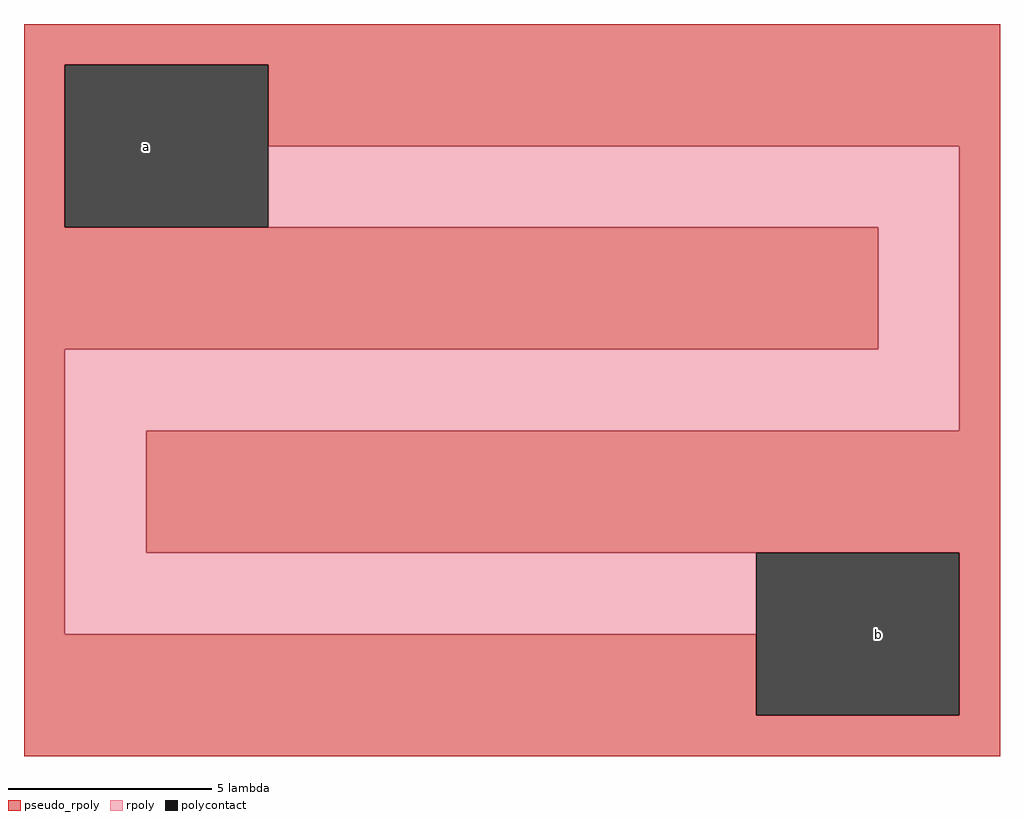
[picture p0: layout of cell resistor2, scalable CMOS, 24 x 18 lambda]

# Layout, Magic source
magic
tech scmos
<< polycontact >>
rect -8 6 -3 10
rect 9 -6 14 -2
<< pseudo_rpoly >>
rect -9 10 15 11
rect -9 6 -8 10
rect -3 8 15 10
rect -9 3 12 6
rect -9 -4 -8 3
rect 14 1 15 8
rect -6 -2 15 1
rect -9 -6 9 -4
rect 14 -6 15 -2
rect -9 -7 15 -6
<< rpoly >>
rect -3 6 14 8
rect 12 3 14 6
rect -8 1 14 3
rect -8 -2 -6 1
rect -8 -4 9 -2
<< labels >>
rlabel polycontact -6 8 -6 8 4 a
rlabel polycontact 12 -4 12 -4 1 b
<< end >>
